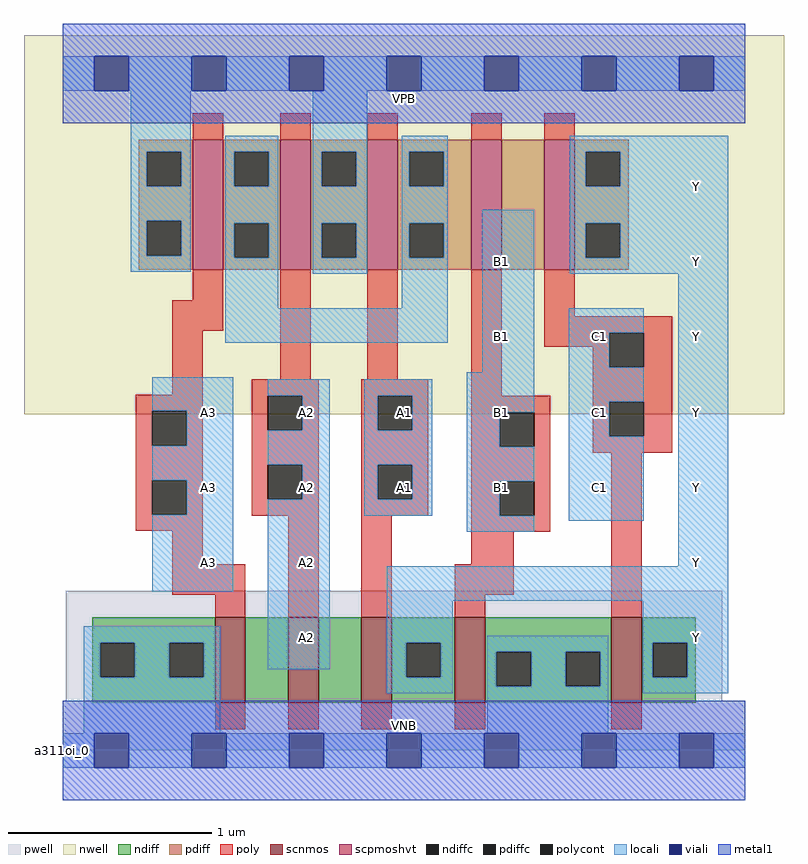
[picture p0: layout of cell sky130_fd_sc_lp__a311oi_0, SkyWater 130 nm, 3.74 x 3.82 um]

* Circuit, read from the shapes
.subckt sky130_fd_sc_lp__a311oi_0 A1 A2 A3 B1 C1 VGND VNB VPB VPWR Y
XM1 n1 A3 VGND VNB sky130_fd_pr__nfet_01v8 w=0.42 l=0.15
XM2 n2 A2 n1 VNB sky130_fd_pr__nfet_01v8 w=0.42 l=0.15
XM3 Y A1 n2 VNB sky130_fd_pr__nfet_01v8 w=0.42 l=0.15
XM4 VGND B1 Y VNB sky130_fd_pr__nfet_01v8 w=0.42 l=0.15
XM5 Y C1 VGND VNB sky130_fd_pr__nfet_01v8 w=0.42 l=0.15
XM6 n3 A3 VPWR VPB sky130_fd_pr__pfet_01v8_hvt w=0.64 l=0.15
XM7 VPWR A2 n3 VPB sky130_fd_pr__pfet_01v8_hvt w=0.64 l=0.15
XM8 n3 A1 VPWR VPB sky130_fd_pr__pfet_01v8_hvt w=0.64 l=0.15
XM9 n4 B1 n3 VPB sky130_fd_pr__pfet_01v8_hvt w=0.64 l=0.15
XM10 Y C1 n4 VPB sky130_fd_pr__pfet_01v8_hvt w=0.64 l=0.15
.ends

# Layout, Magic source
magic
tech sky130A
magscale 1 2
<< nwell >>
rect -38 331 710 704
<< pwell >>
rect 3 49 649 157
rect 0 0 672 49
<< scnmos >>
rect 150 47 180 131
rect 222 47 252 131
rect 294 47 324 131
rect 386 47 416 131
rect 540 47 570 131
<< scpmoshvt >>
rect 128 473 158 601
rect 214 473 244 601
rect 300 473 330 601
rect 402 473 432 601
rect 474 473 504 601
<< ndiff >>
rect 29 106 150 131
rect 29 72 37 106
rect 71 72 105 106
rect 139 72 150 106
rect 29 47 150 72
rect 180 47 222 131
rect 252 47 294 131
rect 324 106 386 131
rect 324 72 338 106
rect 372 72 386 106
rect 324 47 386 72
rect 416 97 540 131
rect 416 63 427 97
rect 461 63 495 97
rect 529 63 540 97
rect 416 47 540 63
rect 570 106 623 131
rect 570 72 581 106
rect 615 72 623 106
rect 570 47 623 72
<< pdiff >>
rect 75 589 128 601
rect 75 555 83 589
rect 117 555 128 589
rect 75 521 128 555
rect 75 487 83 521
rect 117 487 128 521
rect 75 473 128 487
rect 158 589 214 601
rect 158 555 169 589
rect 203 555 214 589
rect 158 519 214 555
rect 158 485 169 519
rect 203 485 214 519
rect 158 473 214 485
rect 244 589 300 601
rect 244 555 255 589
rect 289 555 300 589
rect 244 519 300 555
rect 244 485 255 519
rect 289 485 300 519
rect 244 473 300 485
rect 330 589 402 601
rect 330 555 341 589
rect 375 555 402 589
rect 330 519 402 555
rect 330 485 341 519
rect 375 485 402 519
rect 330 473 402 485
rect 432 473 474 601
rect 504 589 557 601
rect 504 555 515 589
rect 549 555 557 589
rect 504 519 557 555
rect 504 485 515 519
rect 549 485 557 519
rect 504 473 557 485
<< ndiffc >>
rect 37 72 71 106
rect 105 72 139 106
rect 338 72 372 106
rect 427 63 461 97
rect 495 63 529 97
rect 581 72 615 106
<< pdiffc >>
rect 83 555 117 589
rect 83 487 117 521
rect 169 555 203 589
rect 169 485 203 519
rect 255 555 289 589
rect 255 485 289 519
rect 341 555 375 589
rect 341 485 375 519
rect 515 555 549 589
rect 515 485 549 519
<< poly >>
rect 128 601 158 627
rect 214 601 244 627
rect 300 601 330 627
rect 402 601 432 627
rect 474 601 504 627
rect 128 443 158 473
rect 108 413 158 443
rect 108 350 138 413
rect 214 365 244 473
rect 300 365 330 473
rect 72 334 138 350
rect 72 300 88 334
rect 122 300 138 334
rect 72 266 138 300
rect 72 232 88 266
rect 122 232 138 266
rect 72 216 138 232
rect 186 349 252 365
rect 186 315 202 349
rect 236 315 252 349
rect 186 281 252 315
rect 186 247 202 281
rect 236 247 252 281
rect 186 231 252 247
rect 108 183 138 216
rect 108 153 180 183
rect 150 131 180 153
rect 222 131 252 231
rect 294 349 360 365
rect 294 315 310 349
rect 344 315 360 349
rect 294 281 360 315
rect 294 247 310 281
rect 344 247 360 281
rect 294 231 360 247
rect 402 349 432 473
rect 474 427 504 473
rect 474 411 600 427
rect 474 397 538 411
rect 522 377 538 397
rect 572 377 600 411
rect 402 333 480 349
rect 402 299 430 333
rect 464 299 480 333
rect 402 265 480 299
rect 522 343 600 377
rect 522 309 538 343
rect 572 309 600 343
rect 522 293 600 309
rect 402 231 430 265
rect 464 231 480 265
rect 294 131 324 231
rect 402 215 480 231
rect 402 183 444 215
rect 386 153 444 183
rect 386 131 416 153
rect 540 131 570 293
rect 150 21 180 47
rect 222 21 252 47
rect 294 21 324 47
rect 386 21 416 47
rect 540 21 570 47
<< polycont >>
rect 88 300 122 334
rect 88 232 122 266
rect 202 315 236 349
rect 202 247 236 281
rect 310 315 344 349
rect 310 247 344 281
rect 538 377 572 411
rect 430 299 464 333
rect 538 309 572 343
rect 430 231 464 265
<< locali >>
rect 0 649 31 683
rect 65 649 127 683
rect 161 649 223 683
rect 257 649 319 683
rect 353 649 415 683
rect 449 649 511 683
rect 545 649 607 683
rect 641 649 672 683
rect 67 589 126 649
rect 67 555 83 589
rect 117 555 126 589
rect 67 521 126 555
rect 67 487 83 521
rect 117 487 126 521
rect 67 471 126 487
rect 160 589 212 605
rect 160 555 169 589
rect 203 555 212 589
rect 160 519 212 555
rect 160 485 169 519
rect 203 485 212 519
rect 160 435 212 485
rect 246 589 300 649
rect 246 555 255 589
rect 289 555 300 589
rect 246 519 300 555
rect 246 485 255 519
rect 289 485 300 519
rect 246 469 300 485
rect 334 589 379 605
rect 334 555 341 589
rect 375 555 379 589
rect 334 519 379 555
rect 499 589 655 605
rect 499 555 515 589
rect 549 555 655 589
rect 334 485 341 519
rect 375 485 379 519
rect 334 435 379 485
rect 160 401 379 435
rect 413 372 464 532
rect 499 519 655 555
rect 499 485 515 519
rect 549 485 655 519
rect 499 469 655 485
rect 88 334 168 367
rect 122 300 168 334
rect 88 266 168 300
rect 122 232 168 266
rect 88 156 168 232
rect 202 349 263 365
rect 236 315 263 349
rect 202 281 263 315
rect 236 247 263 281
rect 21 106 155 122
rect 21 72 37 106
rect 71 72 105 106
rect 139 72 155 106
rect 202 80 263 247
rect 297 349 364 365
rect 297 315 310 349
rect 344 315 364 349
rect 297 281 364 315
rect 297 247 310 281
rect 344 247 364 281
rect 297 231 364 247
rect 398 333 464 372
rect 398 299 430 333
rect 398 265 464 299
rect 398 231 430 265
rect 398 215 464 231
rect 498 411 572 435
rect 498 377 538 411
rect 498 343 572 377
rect 498 309 538 343
rect 498 226 572 309
rect 606 181 655 469
rect 319 147 655 181
rect 319 106 384 147
rect 21 17 155 72
rect 319 72 338 106
rect 372 72 384 106
rect 319 56 384 72
rect 418 97 537 113
rect 418 63 427 97
rect 461 63 495 97
rect 529 63 537 97
rect 418 17 537 63
rect 571 106 655 147
rect 571 72 581 106
rect 615 72 655 106
rect 571 56 655 72
rect 0 -17 31 17
rect 65 -17 127 17
rect 161 -17 223 17
rect 257 -17 319 17
rect 353 -17 415 17
rect 449 -17 511 17
rect 545 -17 607 17
rect 641 -17 672 17
<< viali >>
rect 31 649 65 683
rect 127 649 161 683
rect 223 649 257 683
rect 319 649 353 683
rect 415 649 449 683
rect 511 649 545 683
rect 607 649 641 683
rect 31 -17 65 17
rect 127 -17 161 17
rect 223 -17 257 17
rect 319 -17 353 17
rect 415 -17 449 17
rect 511 -17 545 17
rect 607 -17 641 17
<< metal1 >>
rect 0 683 672 715
rect 0 649 31 683
rect 65 649 127 683
rect 161 649 223 683
rect 257 649 319 683
rect 353 649 415 683
rect 449 649 511 683
rect 545 649 607 683
rect 641 649 672 683
rect 0 617 672 649
rect 0 17 672 49
rect 0 -17 31 17
rect 65 -17 127 17
rect 161 -17 223 17
rect 257 -17 319 17
rect 353 -17 415 17
rect 449 -17 511 17
rect 545 -17 607 17
rect 641 -17 672 17
rect 0 -49 672 -17
<< labels >>
flabel pwell s 0 0 672 49 0 FreeSans 200 0 0 0 VNB
port 7 nsew ground bidirectional
flabel nwell s 0 617 672 666 0 FreeSans 200 0 0 0 VPB
port 8 nsew power bidirectional
rlabel comment s 0 0 0 0 4 a311oi_0
flabel metal1 s 0 617 672 666 0 FreeSans 340 0 0 0 VPWR
port 9 nsew power bidirectional
flabel metal1 s 0 0 672 49 0 FreeSans 340 0 0 0 VGND
port 6 nsew ground bidirectional
flabel locali s 319 242 353 276 0 FreeSans 340 0 0 0 A1
port 1 nsew signal input
flabel locali s 319 316 353 350 0 FreeSans 340 0 0 0 A1
port 1 nsew signal input
flabel locali s 223 168 257 202 0 FreeSans 340 0 0 0 A2
port 2 nsew signal input
flabel locali s 223 242 257 276 0 FreeSans 340 0 0 0 A2
port 2 nsew signal input
flabel locali s 223 316 257 350 0 FreeSans 340 0 0 0 A2
port 2 nsew signal input
flabel locali s 127 242 161 276 0 FreeSans 340 0 0 0 A3
port 3 nsew signal input
flabel locali s 127 316 161 350 0 FreeSans 340 0 0 0 A3
port 3 nsew signal input
flabel locali s 415 242 449 276 0 FreeSans 340 0 0 0 B1
port 4 nsew signal input
flabel locali s 415 316 449 350 0 FreeSans 340 0 0 0 B1
port 4 nsew signal input
flabel locali s 415 390 449 424 0 FreeSans 340 0 0 0 B1
port 4 nsew signal input
flabel locali s 415 464 449 498 0 FreeSans 340 0 0 0 B1
port 4 nsew signal input
flabel locali s 511 242 545 276 0 FreeSans 340 0 0 0 C1
port 5 nsew signal input
flabel locali s 511 316 545 350 0 FreeSans 340 0 0 0 C1
port 5 nsew signal input
flabel locali s 511 390 545 424 0 FreeSans 340 0 0 0 C1
port 5 nsew signal input
flabel locali s 607 168 641 202 0 FreeSans 340 0 0 0 Y
port 10 nsew signal output
flabel locali s 607 94 641 128 0 FreeSans 340 0 0 0 Y
port 10 nsew signal output
flabel locali s 127 168 161 202 0 FreeSans 340 0 0 0 A3
port 3 nsew signal input
flabel locali s 607 316 641 350 0 FreeSans 340 0 0 0 Y
port 10 nsew signal output
flabel locali s 607 242 641 276 0 FreeSans 340 0 0 0 Y
port 10 nsew signal output
flabel locali s 223 94 257 128 0 FreeSans 340 0 0 0 A2
port 2 nsew signal input
flabel locali s 607 538 641 572 0 FreeSans 340 0 0 0 Y
port 10 nsew signal output
flabel locali s 607 464 641 498 0 FreeSans 340 0 0 0 Y
port 10 nsew signal output
flabel locali s 607 390 641 424 0 FreeSans 340 0 0 0 Y
port 10 nsew signal output
<< properties >>
string LEFsite unit
string LEFclass CORE
string FIXED_BBOX 0 0 672 666
string GDS_FILE $PDKPATH/libs.ref/sky130_fd_sc_lp/gds/sky130_fd_sc_lp.gds
string LEFsymmetry X Y R90
string GDS_END 3226800
string GDS_START 3218384
<< end >>
